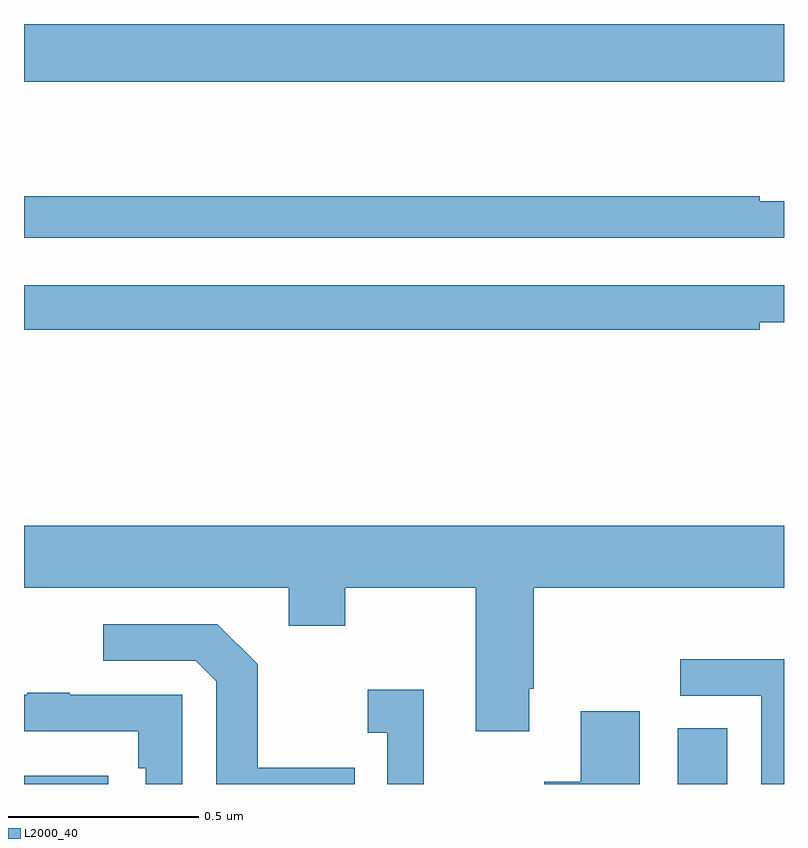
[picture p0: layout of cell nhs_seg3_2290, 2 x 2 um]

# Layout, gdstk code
import gdstk
lib = gdstk.Library(unit=1e-6, precision=1e-09)
def R(c, l, rs):  # rectangles x0, y0, x1, y1
    for r in rs: c.add(gdstk.rectangle(r[:2], r[2:], *l))
def P(c, l, *ps):  # polygons
    for p in ps: c.add(gdstk.Polygon(p, *l))
L2000_40 = (2000, 40)

nhs_seg3_2290 = lib.new_cell('nhs_seg3_2290')
R(nhs_seg3_2290, L2000_40, [(139,700.4,139.222,700.422), (140.72,700.4,140.851,700.547), (139,702.248,141,702.4)])
P(nhs_seg3_2290, L2000_40, [(141,701.934),(140.936,701.934),(140.936,701.947),(139,701.947),(139,701.838),(141,701.838)],
  [(140.936,701.615),(141,701.615),(141,701.712),(139,701.712),(139,701.596),(140.936,701.596)],
  [(140.329,700.651),(140.342,700.651),(140.342,700.916),(141,700.916),(141,701.08),(139,701.08),(139,700.916),(139.697,700.916),(139.697,700.817),(139.845,700.817),(139.845,700.916),(140.189,700.916),(140.189,700.539),(140.329,700.539)],
  [(139.871,700.443),(139.615,700.443),(139.615,700.715),(139.509,700.821),(139.209,700.821),(139.209,700.725),(139.452,700.725),(139.506,700.671),(139.506,700.4),(139.871,700.4)],
  [(141,700.728),(140.727,700.728),(140.727,700.632),(140.94,700.632),(140.94,700.4),(141,700.4)],
  [(140.052,700.648),(139.905,700.648),(139.905,700.535),(139.956,700.535),(139.956,700.4),(140.052,700.4)],
  [(139.416,700.635),(139.121,700.635),(139.121,700.64),(139.009,700.64),(139.009,700.635),(139,700.635),(139,700.539),(139.3,700.539),(139.3,700.442),(139.32,700.442),(139.32,700.4),(139.416,700.4)],
  [(140.62,700.591),(140.465,700.591),(140.465,700.406),(140.369,700.406),(140.369,700.4),(140.62,700.4)])

lib.write_gds('nhs_seg3_2290.gds')
